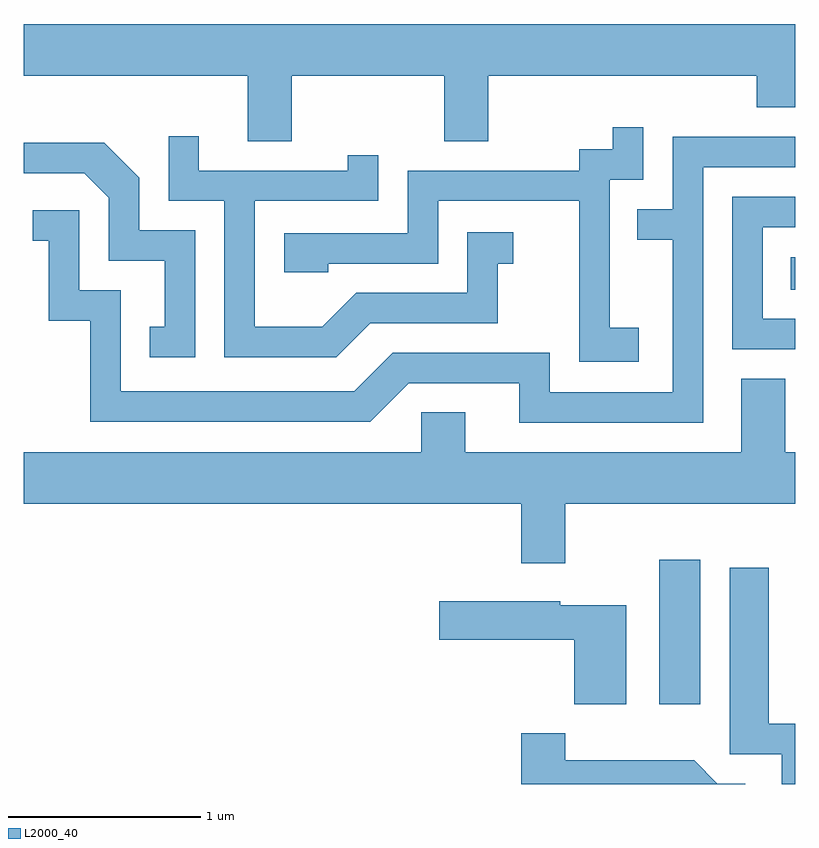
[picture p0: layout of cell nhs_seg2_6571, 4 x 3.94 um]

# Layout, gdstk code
import gdstk
lib = gdstk.Library(unit=1e-6, precision=1e-09)
def R(c, l, rs):  # rectangles x0, y0, x1, y1
    for r in rs: c.add(gdstk.rectangle(r[:2], r[2:], *l))
def P(c, l, *ps):  # polygons
    for p in ps: c.add(gdstk.Polygon(p, *l))
L2000_40 = (2000, 40)

nhs_seg2_6571 = lib.new_cell('nhs_seg2_6571')
R(nhs_seg2_6571, L2000_40, [(382.906,996.216,383.119,996.964), (383.588,998.366,383.611,998.534)])
P(nhs_seg2_6571, L2000_40, [(380.999,999.476),(381.791,999.476),(381.791,999.136),(382.019,999.136),(382.019,999.476),(383.411,999.476),(383.411,999.311),(383.611,999.311),(383.611,999.744),(379.611,999.744),(379.611,999.476),(380.771,999.476),(380.771,999.136),(380.999,999.136)],
  [(382.799,998.169),(382.649,998.169),(382.649,998.936),(382.824,998.936),(382.824,999.208),(382.666,999.208),(382.666,999.094),(382.491,999.094),(382.491,998.984),(381.601,998.984),(381.601,998.659),(380.961,998.659),(380.961,998.456),(381.189,998.456),(381.189,998.501),(381.759,998.501),(381.759,998.826),(382.491,998.826),(382.491,997.991),(382.799,997.991)],
  [(381.407,998.191),(382.069,998.191),(382.069,998.501),(382.148,998.501),(382.148,998.664),(381.911,998.664),(381.911,998.349),(381.334,998.349),(381.159,998.174),(380.809,998.174),(380.809,998.826),(381.449,998.826),(381.449,999.063),(381.291,999.063),(381.291,998.984),(380.519,998.984),(380.519,999.163),(380.361,999.163),(380.361,998.826),(380.651,998.826),(380.651,998.016),(381.232,998.016)],
  [(383.134,999.001),(383.611,999.001),(383.611,999.159),(382.976,999.159),(382.976,998.784),(382.793,998.784),(382.793,998.626),(382.976,998.626),(382.976,997.834),(382.339,997.834),(382.339,998.039),(381.524,998.039),(381.324,997.839),(380.114,997.839),(380.114,998.364),(379.899,998.364),(379.899,998.779),(379.658,998.779),(379.658,998.621),(379.741,998.621),(379.741,998.206),(379.956,998.206),(379.956,997.681),(381.407,997.681),(381.607,997.881),(382.181,997.881),(382.181,997.676),(383.134,997.676)],
  [(380.499,998.674),(380.209,998.674),(380.209,998.947),(380.027,999.129),(379.611,999.129),(379.611,998.971),(379.924,998.971),(380.051,998.844),(380.051,998.516),(380.341,998.516),(380.341,998.174),(380.263,998.174),(380.263,998.016),(380.499,998.016)],
  [(383.611,998.214),(383.444,998.214),(383.444,998.691),(383.611,998.691),(383.611,998.849),(383.286,998.849),(383.286,998.056),(383.611,998.056)],
  [(382.419,997.256),(383.611,997.256),(383.611,997.524),(383.559,997.524),(383.559,997.904),(383.331,997.904),(383.331,997.524),(381.899,997.524),(381.899,997.729),(381.671,997.729),(381.671,997.524),(379.611,997.524),(379.611,997.256),(382.191,997.256),(382.191,996.946),(382.419,996.946)],
  [(383.611,996.114),(383.474,996.114),(383.474,996.924),(383.271,996.924),(383.271,995.956),(383.541,995.956),(383.541,995.802),(383.611,995.802)],
  [(382.734,996.729),(382.394,996.729),(382.394,996.749),(381.766,996.749),(381.766,996.551),(382.466,996.551),(382.466,996.216),(382.734,996.216)],
  [(383.353,995.804),(383.207,995.804),(383.087,995.924),(382.419,995.924),(382.419,996.064),(382.191,996.064),(382.191,995.802),(383.353,995.802)])

lib.write_gds('nhs_seg2_6571.gds')
